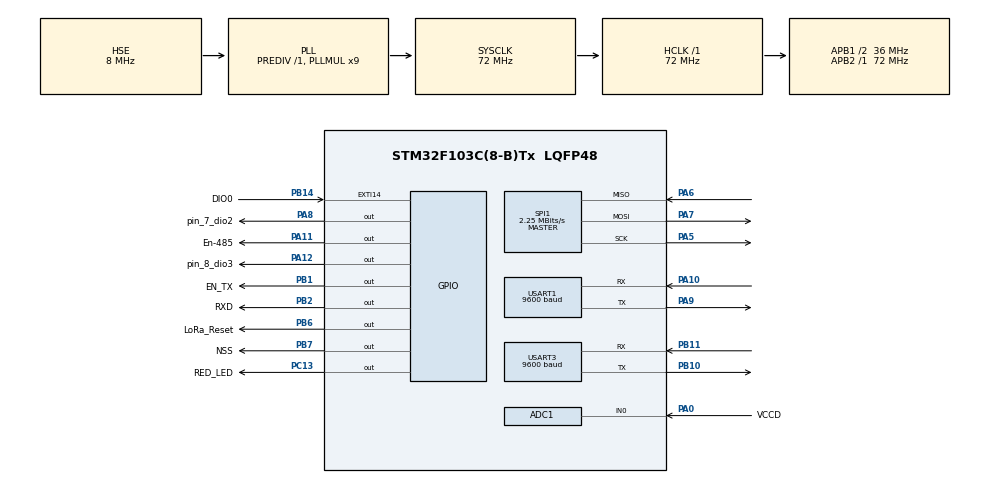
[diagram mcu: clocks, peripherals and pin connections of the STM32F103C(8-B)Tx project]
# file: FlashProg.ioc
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ADC1.Channel-7\#ChannelRegularConversion=ADC_CHANNEL_0
ADC1.ContinuousConvMode=DISABLE
ADC1.NbrOfConversion=1
ADC1.NbrOfConversionFlag=1
ADC1.Rank-7\#ChannelRegularConversion=1
ADC1.SamplingTime-7\#ChannelRegularConversion=ADC_SAMPLETIME_1CYCLE_5
ADC1.master=1
Dma.Request0=USART3_RX
Dma.Request1=USART3_TX
Dma.Request2=USART1_RX
Dma.Request3=USART1_TX
Dma.USART1_RX.2.Direction=DMA_PERIPH_TO_MEMORY
Dma.USART1_RX.2.Instance=DMA1_Channel5
Dma.USART1_RX.2.MemDataAlignment=DMA_MDATAALIGN_BYTE
Dma.USART1_RX.2.MemInc=DMA_MINC_ENABLE
Dma.USART1_RX.2.Mode=DMA_NORMAL
Dma.USART1_RX.2.PeriphDataAlignment=DMA_PDATAALIGN_BYTE
Dma.USART1_RX.2.PeriphInc=DMA_PINC_DISABLE
Dma.USART1_RX.2.Priority=DMA_PRIORITY_LOW
Dma.USART1_TX.3.Direction=DMA_MEMORY_TO_PERIPH
Dma.USART1_TX.3.Instance=DMA1_Channel4
Dma.USART1_TX.3.MemDataAlignment=DMA_MDATAALIGN_BYTE
Dma.USART1_TX.3.MemInc=DMA_MINC_ENABLE
Dma.USART1_TX.3.Mode=DMA_NORMAL
Dma.USART1_TX.3.PeriphDataAlignment=DMA_PDATAALIGN_BYTE
Dma.USART1_TX.3.PeriphInc=DMA_PINC_DISABLE
Dma.USART1_TX.3.Priority=DMA_PRIORITY_LOW
Dma.USART3_RX.0.Direction=DMA_PERIPH_TO_MEMORY
Dma.USART3_RX.0.Instance=DMA1_Channel3
Dma.USART3_RX.0.MemDataAlignment=DMA_MDATAALIGN_BYTE
Dma.USART3_RX.0.MemInc=DMA_MINC_ENABLE
Dma.USART3_RX.0.Mode=DMA_NORMAL
Dma.USART3_RX.0.PeriphDataAlignment=DMA_PDATAALIGN_BYTE
Dma.USART3_RX.0.PeriphInc=DMA_PINC_DISABLE
Dma.USART3_RX.0.Priority=DMA_PRIORITY_LOW
Dma.USART3_TX.1.Direction=DMA_MEMORY_TO_PERIPH
Dma.USART3_TX.1.Instance=DMA1_Channel2
Dma.USART3_TX.1.MemDataAlignment=DMA_MDATAALIGN_BYTE
Dma.USART3_TX.1.MemInc=DMA_MINC_ENABLE
Dma.USART3_TX.1.Mode=DMA_NORMAL
Dma.USART3_TX.1.PeriphDataAlignment=DMA_PDATAALIGN_BYTE
Dma.USART3_TX.1.PeriphInc=DMA_PINC_DISABLE
Dma.USART3_TX.1.Priority=DMA_PRIORITY_LOW
Mcu.Family=STM32F1
Mcu.Name=STM32F103C(8-B)Tx
Mcu.Package=LQFP48
NVIC.ADC1_2_IRQn=true\:1\:0\:true\:false\:true\:true\:true\:true
NVIC.DMA1_Channel2_IRQn=true\:0\:0\:true\:false\:true\:false\:true\:true
NVIC.DMA1_Channel3_IRQn=true\:0\:0\:false\:false\:true\:false\:true\:true
NVIC.DMA1_Channel4_IRQn=true\:0\:0\:false\:false\:true\:false\:true\:true
NVIC.DMA1_Channel5_IRQn=true\:0\:0\:false\:false\:true\:false\:true\:true
NVIC.EXTI15_10_IRQn=true\:1\:0\:true\:false\:true\:true\:true\:true
NVIC.PriorityGroup=NVIC_PRIORITYGROUP_4
NVIC.SPI1_IRQn=true\:0\:0\:false\:false\:true\:true\:true\:true
NVIC.USART1_IRQn=true\:1\:0\:true\:false\:true\:true\:true\:true
NVIC.USART3_IRQn=true\:1\:0\:true\:false\:true\:true\:true\:true
PA0-WKUP.GPIO_Label=VCCD
PA0-WKUP.Signal=ADCx_IN0
PA10.GPIO_PuPd=GPIO_PULLUP
PA10.Mode=Asynchronous
PA10.Signal=USART1_RX
PA11.GPIO_Label=En-485
PA11.Signal=GPIO_Output
PA12.GPIO_Label=pin_8_dio3
PA12.Signal=GPIO_Output
PA13.Mode=Trace_Asynchronous_SW
PA13.Signal=SYS_JTMS-SWDIO
PA14.Mode=Trace_Asynchronous_SW
PA14.Signal=SYS_JTCK-SWCLK
PA5.Mode=Full_Duplex_Master
PA5.Signal=SPI1_SCK
PA6.Mode=Full_Duplex_Master
PA6.Signal=SPI1_MISO
PA7.Mode=Full_Duplex_Master
PA7.Signal=SPI1_MOSI
PA8.GPIO_Label=pin_7_dio2
PA8.Signal=GPIO_Output
PA9.GPIO_Speed=GPIO_SPEED_FREQ_LOW
PA9.Mode=Asynchronous
PA9.Signal=USART1_TX
PB1.GPIO_Label=EN_TX
PB1.PinState=GPIO_PIN_RESET
PB1.Signal=GPIO_Output
PB10.GPIO_Speed=GPIO_SPEED_FREQ_LOW
PB10.Mode=Asynchronous
PB10.Signal=USART3_TX
PB11.GPIO_PuPd=GPIO_PULLUP
PB11.Mode=Asynchronous
PB11.Signal=USART3_RX
PB14.GPIO_Label=DIO0
PB14.GPIO_PuPd=GPIO_PULLDOWN
PB14.Signal=GPXTI14
PB2.GPIO_Label=RXD
PB2.PinState=GPIO_PIN_SET
PB2.Signal=GPIO_Output
PB3.Mode=Trace_Asynchronous_SW
PB3.Signal=SYS_JTDO-TRACESWO
PB6.GPIO_Label=LoRa_Reset
PB6.PinState=GPIO_PIN_SET
PB6.Signal=GPIO_Output
PB7.GPIO_Label=NSS
PB7.PinState=GPIO_PIN_SET
PB7.Signal=GPIO_Output
PC13-TAMPER-RTC.GPIO_Label=RED_LED
PC13-TAMPER-RTC.Signal=GPIO_Output
PD0-OSC_IN.Mode=HSE-External-Oscillator
PD0-OSC_IN.Signal=RCC_OSC_IN
PD1-OSC_OUT.Mode=HSE-External-Oscillator
PD1-OSC_OUT.Signal=RCC_OSC_OUT
ProjectManager.HeapSize=0x200
ProjectManager.StackSize=0x400
ProjectManager.TargetToolchain=STM32CubeIDE
RCC.ADCPresc=RCC_ADCPCLK2_DIV6
RCC.AHBFreq_Value=72000000
RCC.APB1CLKDivider=RCC_HCLK_DIV2
RCC.APB1Freq_Value=36000000
RCC.APB1TimFreq_Value=72000000
RCC.APB2Freq_Value=72000000
RCC.APB2TimFreq_Value=72000000
RCC.HCLKFreq_Value=72000000
RCC.PLLMUL=RCC_PLL_MUL9
RCC.PLLSourceVirtual=RCC_PLLSOURCE_HSE
RCC.SYSCLKFreq_VALUE=72000000
RCC.SYSCLKSource=RCC_SYSCLKSOURCE_PLLCLK
RCC.USBFreq_Value=72000000
SH.ADCx_IN0.0=ADC1_IN0,IN0
SPI1.BaudRatePrescaler=SPI_BAUDRATEPRESCALER_32
SPI1.CalculateBaudRate=2.25 MBits/s
SPI1.Direction=SPI_DIRECTION_2LINES
SPI1.Mode=SPI_MODE_MASTER
SPI1.VirtualType=VM_MASTER
TIM1.Period=0xFFFF-1
TIM1.Prescaler=71
USART1.BaudRate=9600
USART1.VirtualMode=VM_ASYNC
USART3.BaudRate=9600
USART3.VirtualMode=VM_ASYNC
VP_TIM1_VS_ClockSourceINT.Mode=Internal
board=custom

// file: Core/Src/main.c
/* USER CODE BEGIN Header */
/**
  ******************************************************************************
  * @file           : main.c
  * @brief          : Main program body
  ******************************************************************************
  * @attention
  *
  * Copyright (c) 2022 STMicroelectronics.
  * All rights reserved.
  *
  * This software is licensed under terms that can be found in the LICENSE file
  * in the root directory of this software component.
  * If no LICENSE file comes with this software, it is provided AS-IS.
  *
  ******************************************************************************
  */
/* USER CODE END Header */
#include <string.h>
#include <stdio.h>
#include "main.h"
#include "adc.h"
#include "dma.h"
#include "spi.h"
#include "tim.h"
#include "usart.h"
#include "gpio.h"

/* USER CODE BEGIN Includes */
#include "FLASH_PAGE_F1.h"

/* USER CODE END Includes */

/* USER CODE BEGIN PD */

#define PAGE_63_START	0x800FC00
#define PAGE_62_END		0x800F8FF
#define NUMBER			129

/* USER CODE END PD */

void SystemClock_Config(void);

/* USER CODE BEGIN 0 */

char *data = "hello FLASH from ControllerTech\
			  This is a test to see how many words can we work with";

uint32_t data2[] = {129,0x2,0x3,0x4,0x5,0x6,0x7,0x8,0x9};

//uint32_t number = 129;

uint32_t Rx_Data[30] = {0};

uint32_t dat;
char string[100];

int number = 123;

float val = 123.456;

float RxVal;

/* USER CODE END 0 */

int main(void)
{

  /* MCU Configuration--------------------------------------------------------*/

  /* Reset of all peripherals, Initializes the Flash interface and the Systick. */
  HAL_Init();

  /* Configure the system clock */
  SystemClock_Config();

  /* Initialize all configured peripherals */
  MX_GPIO_Init();
  MX_SPI1_Init();
  MX_DMA_Init();
  MX_USART1_UART_Init();
  MX_USART3_UART_Init();
  MX_ADC1_Init();
  MX_TIM1_Init();

  /* USER CODE BEGIN 2 */

  Flash_Read_Data((uint32_t)PAGE_62_END , Rx_Data, 1);

  if (*Rx_Data == 0xFFFFFFFF){

	  Flash_Write_Data(PAGE_62_END , data2, 1);

  }else{

	  printf("%lu\n",*Rx_Data);

  }

  Flash_Write_Data(0x08004410 , (uint32_t *)data2, 9);
  Flash_Read_Data(0x08004410 , Rx_Data, 10);

  int numofwords = (strlen(data)/4)+((strlen(data)%4)!=0);
  Flash_Write_Data(0x08004810 , (uint32_t *)data, numofwords);
  Flash_Read_Data(0x08004810 , Rx_Data, numofwords);
  Convert_To_Str(Rx_Data, string);

  Flash_Write_NUM(0x08005C10, number);
  RxVal = Flash_Read_NUM(0x08005C10);

  Flash_Write_NUM(0x08012000, val);
  RxVal = Flash_Read_NUM(0x08012000);

  /* USER CODE END 2 */

  /* Infinite loop */
  while (1)
  {

  }
}

void SystemClock_Config(void)
{
  RCC_OscInitTypeDef RCC_OscInitStruct = {0};
  RCC_ClkInitTypeDef RCC_ClkInitStruct = {0};
  RCC_PeriphCLKInitTypeDef PeriphClkInit = {0};

  /** Initializes the RCC Oscillators according to the specified parameters
  * in the RCC_OscInitTypeDef structure.
  */
  RCC_OscInitStruct.OscillatorType = RCC_OSCILLATORTYPE_HSE;
  RCC_OscInitStruct.HSEState = RCC_HSE_ON;
  RCC_OscInitStruct.HSEPredivValue = RCC_HSE_PREDIV_DIV1;
  RCC_OscInitStruct.HSIState = RCC_HSI_ON;
  RCC_OscInitStruct.PLL.PLLState = RCC_PLL_ON;
  RCC_OscInitStruct.PLL.PLLSource = RCC_PLLSOURCE_HSE;
  RCC_OscInitStruct.PLL.PLLMUL = RCC_PLL_MUL9;
  if (HAL_RCC_OscConfig(&RCC_OscInitStruct) != HAL_OK)
  {
    Error_Handler();
  }

  /** Initializes the CPU, AHB and APB buses clocks
  */
  RCC_ClkInitStruct.ClockType = RCC_CLOCKTYPE_HCLK|RCC_CLOCKTYPE_SYSCLK
                              |RCC_CLOCKTYPE_PCLK1|RCC_CLOCKTYPE_PCLK2;
  RCC_ClkInitStruct.SYSCLKSource = RCC_SYSCLKSOURCE_PLLCLK;
  RCC_ClkInitStruct.AHBCLKDivider = RCC_SYSCLK_DIV1;
  RCC_ClkInitStruct.APB1CLKDivider = RCC_HCLK_DIV2;
  RCC_ClkInitStruct.APB2CLKDivider = RCC_HCLK_DIV1;

  if (HAL_RCC_ClockConfig(&RCC_ClkInitStruct, FLASH_LATENCY_2) != HAL_OK)
  {
    Error_Handler();
  }
  PeriphClkInit.PeriphClockSelection = RCC_PERIPHCLK_ADC;
  PeriphClkInit.AdcClockSelection = RCC_ADCPCLK2_DIV6;
  if (HAL_RCCEx_PeriphCLKConfig(&PeriphClkInit) != HAL_OK)
  {
    Error_Handler();
  }
}

void Error_Handler(void)
{
  __disable_irq();
  while (1)
  {
  }
}
